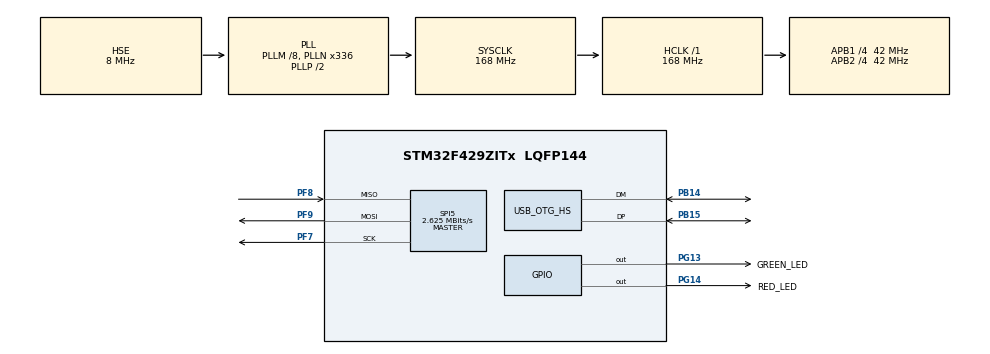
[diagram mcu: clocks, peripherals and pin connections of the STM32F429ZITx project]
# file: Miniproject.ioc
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FREERTOS.Tasks01=defaultTask,0,128,StartDefaultTask,Default,NULL,Dynamic,NULL,NULL
FREERTOS.configUSE_NEWLIB_REENTRANT=1
Mcu.Family=STM32F4
Mcu.Name=STM32F429ZITx
Mcu.Package=LQFP144
NVIC.OTG_HS_IRQn=true\:5\:0\:false\:false\:true\:true\:true\:true\:true
NVIC.PriorityGroup=NVIC_PRIORITYGROUP_4
NVIC.SPI5_IRQn=true\:5\:0\:false\:false\:true\:true\:true\:true\:true
NVIC.TIM6_DAC_IRQn=true\:15\:0\:false\:false\:true\:false\:false\:true\:true
NVIC.TimeBase=TIM6_DAC_IRQn
NVIC.TimeBaseIP=TIM6
PA13.Mode=Serial_Wire
PA13.Signal=SYS_JTMS-SWDIO
PA14.Mode=Serial_Wire
PA14.Signal=SYS_JTCK-SWCLK
PB14.Mode=Device_Only_FS
PB14.Signal=USB_OTG_HS_DM
PB15.Mode=Device_Only_FS
PB15.Signal=USB_OTG_HS_DP
PF7.Mode=Full_Duplex_Master
PF7.Signal=SPI5_SCK
PF8.Mode=Full_Duplex_Master
PF8.Signal=SPI5_MISO
PF9.Mode=Full_Duplex_Master
PF9.Signal=SPI5_MOSI
PG13.GPIO_Label=GREEN_LED
PG13.GPIO_Speed=GPIO_SPEED_FREQ_HIGH
PG13.Signal=GPIO_Output
PG14.GPIO_Label=RED_LED
PG14.GPIO_Speed=GPIO_SPEED_FREQ_HIGH
PG14.Signal=GPIO_Output
PH0/OSC_IN.Mode=HSE-External-Oscillator
PH0/OSC_IN.Signal=RCC_OSC_IN
PH1/OSC_OUT.Mode=HSE-External-Oscillator
PH1/OSC_OUT.Signal=RCC_OSC_OUT
ProjectManager.HeapSize=0x200
ProjectManager.StackSize=0x400
ProjectManager.TargetToolchain=STM32CubeIDE
RCC.48MHZClocksFreq_Value=48000000
RCC.AHBFreq_Value=168000000
RCC.APB1CLKDivider=RCC_HCLK_DIV4
RCC.APB1Freq_Value=42000000
RCC.APB1TimFreq_Value=84000000
RCC.APB2CLKDivider=RCC_HCLK_DIV4
RCC.APB2Freq_Value=42000000
RCC.APB2TimFreq_Value=84000000
RCC.CortexFreq_Value=168000000
RCC.HCLKFreq_Value=168000000
RCC.HSE_VALUE=8000000
RCC.HSI_VALUE=16000000
RCC.LSE_VALUE=32768
RCC.PLLM=8
RCC.PLLN=336
RCC.PLLQ=7
RCC.SYSCLKFreq_VALUE=168000000
RCC.SYSCLKSource=RCC_SYSCLKSOURCE_PLLCLK
RCC.VCOOutputFreq_Value=336000000
SPI5.BaudRatePrescaler=SPI_BAUDRATEPRESCALER_16
SPI5.CalculateBaudRate=2.625 MBits/s
SPI5.Direction=SPI_DIRECTION_2LINES
SPI5.Mode=SPI_MODE_MASTER
SPI5.VirtualType=VM_MASTER
USB_DEVICE.CLASS_NAME_HS=CDC
USB_DEVICE.VirtualMode-CDC_HS=Cdc
USB_DEVICE.VirtualModeHS=Cdc_HS
USB_OTG_HS.VirtualMode-Device_Only_FS=Device_Only_FS
VP_FREERTOS_VS_CMSIS_V1.Mode=CMSIS_V1
VP_SYS_VS_tim6.Mode=TIM6
VP_USB_DEVICE_VS_USB_DEVICE_CDC_HS.Mode=CDC_HS
board=custom

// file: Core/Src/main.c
/* USER CODE BEGIN Header */
/**
  ******************************************************************************
  * @file           : main.c
  * @brief          : Main program body
  ******************************************************************************
  * @attention
  *
  * Copyright (c) 2023 STMicroelectronics.
  * All rights reserved.
  *
  * This software is licensed under terms that can be found in the LICENSE file
  * in the root directory of this software component.
  * If no LICENSE file comes with this software, it is provided AS-IS.
  *
  ******************************************************************************
  */
/* USER CODE END Header */
#include "main.h"
#include "cmsis_os.h"
#include "usb_device.h"

/* USER CODE BEGIN Includes */
#include <stdio.h>
#include <stdlib.h>
#include "string.h"
#include "stm32f429i_discovery_sdram.h"
#include "stm32f429i_discovery_lcd.h"
#include "stm32f429i_discovery_gyroscope.h"
#include "usbd_cdc_if.h"
/* USER CODE END Includes */

/* USER CODE BEGIN PD */
#define DT 0.01
#define G_GAIN 0.070
#define RAD_TO_DEG 57.29578
#define M_PI 3.14159265358979323846
/* USER CODE END PD */

SPI_HandleTypeDef hspi5;

osThreadId Task01Handle;
osThreadId Task02Handle;
osThreadId Task03Handle;
osThreadId Task04Handle;
osThreadId Task05Handle;
osMessageQId Queue01Handle;
osMessageQId Queue02Handle;
osMessageQId Queue03Handle;
/* USER CODE BEGIN PV */
float val[3];
char LCD_send[30];
char USB_send[30];
float rate_gyr_y = 0.0;   // [deg/s]
float rate_gyr_x = 0.0;   // [deg/s]
float rate_gyr_z = 0.0;   // [deg/s]
float gyroXangle = 0.0;
float gyroYangle = 0.0;
float gyroZangle = 0.0;
float tmpX = 0.0;
float tmpY = 0.0;
float tmpY1 = 0.0;
uint16_t high = 50;
uint16_t RX = 120;
uint16_t RY = 170;
uint16_t x = 5;
uint16_t flag = 0;
uint16_t ponk = 0;
uint16_t score = 0;
uint16_t loose = 0;
uint16_t h = 0;
uint16_t inc = 1;
uint16_t mode = 1;
uint16_t gameoverFlag = 0;
typedef struct
{
  float x_ang_rate;
  float y_ang_rate;
  float z_ang_rate;

} GYRO_DATA_T;
/* USER CODE END PV */

void SystemClock_Config(void);
static void MX_GPIO_Init(void);
static void MX_SPI5_Init(void);

/* USER CODE BEGIN PFP */
void StartTask01(void const * argument);
void StartTask02(void const * argument);
void StartTask03(void const * argument);
void StartTask04(void const * argument);
void StartTask05(void const * argument);
/* USER CODE END PFP */

int main(void)
{

  /* MCU Configuration--------------------------------------------------------*/

  /* Reset of all peripherals, Initializes the Flash interface and the Systick. */
  HAL_Init();

  /* Configure the system clock */
  SystemClock_Config();

  /* Initialize all configured peripherals */
  MX_GPIO_Init();
  MX_SPI5_Init();
  /* USER CODE BEGIN 2 */
  BSP_LCD_Init();
  BSP_LCD_LayerDefaultInit(1, SDRAM_DEVICE_ADDR);
  BSP_LCD_SelectLayer(1);
  BSP_LCD_DisplayOn();
  BSP_LCD_Clear(LCD_COLOR_DARKGREEN);
  BSP_LCD_SetBackColor(LCD_COLOR_DARKGREEN);
  BSP_LCD_SetTextColor(LCD_COLOR_GREEN);
  /* USER CODE END 2 */

  /* USER CODE BEGIN RTOS_QUEUES */
  /* add queues, ... */
  osMessageQDef(Queue01, 16, GYRO_DATA_T);
  Queue01Handle = osMessageCreate(osMessageQ(Queue01), NULL);

  osMessageQDef(Queue02, 16, uint16_t);
  Queue02Handle = osMessageCreate(osMessageQ(Queue02), NULL);

  osMessageQDef(Queue03, 16, uint16_t);
  Queue03Handle = osMessageCreate(osMessageQ(Queue03), NULL);
  /* USER CODE END RTOS_QUEUES */

  /* Create the thread(s) */
  /* definition and creation of defaultTask */
  osThreadDef(Task01, StartTask01, osPriorityNormal, 0, 128);
  Task01Handle = osThreadCreate(osThread(Task01), NULL);

  osThreadDef(Task02, StartTask02, osPriorityNormal, 0, 128);
  Task02Handle = osThreadCreate(osThread(Task02), NULL);

  osThreadDef(Task03, StartTask03, osPriorityNormal, 0, 128);
  Task03Handle = osThreadCreate(osThread(Task03), NULL);

  osThreadDef(Task04, StartTask04, osPriorityNormal, 0, 256);
  Task04Handle = osThreadCreate(osThread(Task04), NULL);

  osThreadDef(Task05, StartTask05, osPriorityIdle, 0, 128);
  Task05Handle = osThreadCreate(osThread(Task05), NULL);

  /* Start scheduler */
  osKernelStart();

  /* We should never get here as control is now taken by the scheduler */
  /* Infinite loop */
  while (1)
  {

  }
}

void SystemClock_Config(void)
{
  RCC_OscInitTypeDef RCC_OscInitStruct = {0};
  RCC_ClkInitTypeDef RCC_ClkInitStruct = {0};

  /** Configure the main internal regulator output voltage
  */
  __HAL_RCC_PWR_CLK_ENABLE();
  __HAL_PWR_VOLTAGESCALING_CONFIG(PWR_REGULATOR_VOLTAGE_SCALE1);

  /** Initializes the RCC Oscillators according to the specified parameters
  * in the RCC_OscInitTypeDef structure.
  */
  RCC_OscInitStruct.OscillatorType = RCC_OSCILLATORTYPE_HSE;
  RCC_OscInitStruct.HSEState = RCC_HSE_ON;
  RCC_OscInitStruct.PLL.PLLState = RCC_PLL_ON;
  RCC_OscInitStruct.PLL.PLLSource = RCC_PLLSOURCE_HSE;
  RCC_OscInitStruct.PLL.PLLM = 8;
  RCC_OscInitStruct.PLL.PLLN = 336;
  RCC_OscInitStruct.PLL.PLLP = RCC_PLLP_DIV2;
  RCC_OscInitStruct.PLL.PLLQ = 7;
  if (HAL_RCC_OscConfig(&RCC_OscInitStruct) != HAL_OK)
  {
    Error_Handler();
  }

  /** Initializes the CPU, AHB and APB buses clocks
  */
  RCC_ClkInitStruct.ClockType = RCC_CLOCKTYPE_HCLK|RCC_CLOCKTYPE_SYSCLK
                              |RCC_CLOCKTYPE_PCLK1|RCC_CLOCKTYPE_PCLK2;
  RCC_ClkInitStruct.SYSCLKSource = RCC_SYSCLKSOURCE_PLLCLK;
  RCC_ClkInitStruct.AHBCLKDivider = RCC_SYSCLK_DIV1;
  RCC_ClkInitStruct.APB1CLKDivider = RCC_HCLK_DIV4;
  RCC_ClkInitStruct.APB2CLKDivider = RCC_HCLK_DIV4;

  if (HAL_RCC_ClockConfig(&RCC_ClkInitStruct, FLASH_LATENCY_5) != HAL_OK)
  {
    Error_Handler();
  }
}

static void MX_SPI5_Init(void)
{

  /* SPI5 parameter configuration*/
  hspi5.Instance = SPI5;
  hspi5.Init.Mode = SPI_MODE_MASTER;
  hspi5.Init.Direction = SPI_DIRECTION_2LINES;
  hspi5.Init.DataSize = SPI_DATASIZE_8BIT;
  hspi5.Init.CLKPolarity = SPI_POLARITY_LOW;
  hspi5.Init.CLKPhase = SPI_PHASE_1EDGE;
  hspi5.Init.NSS = SPI_NSS_SOFT;
  hspi5.Init.BaudRatePrescaler = SPI_BAUDRATEPRESCALER_16;
  hspi5.Init.FirstBit = SPI_FIRSTBIT_MSB;
  hspi5.Init.TIMode = SPI_TIMODE_DISABLE;
  hspi5.Init.CRCCalculation = SPI_CRCCALCULATION_DISABLE;
  hspi5.Init.CRCPolynomial = 10;
  if (HAL_SPI_Init(&hspi5) != HAL_OK)
  {
    Error_Handler();
  }

}

static void MX_GPIO_Init(void)
{
  GPIO_InitTypeDef GPIO_InitStruct = {0};

  /* GPIO Ports Clock Enable */
  __HAL_RCC_GPIOF_CLK_ENABLE();
  __HAL_RCC_GPIOH_CLK_ENABLE();
  __HAL_RCC_GPIOB_CLK_ENABLE();
  __HAL_RCC_GPIOA_CLK_ENABLE();
  __HAL_RCC_GPIOG_CLK_ENABLE();

  /*Configure GPIO pin Output Level */
  HAL_GPIO_WritePin(GPIOG, GREEN_LED_Pin|RED_LED_Pin, GPIO_PIN_RESET);

  /*Configure GPIO pins : GREEN_LED_Pin RED_LED_Pin */
  GPIO_InitStruct.Pin = GREEN_LED_Pin|RED_LED_Pin;
  GPIO_InitStruct.Mode = GPIO_MODE_OUTPUT_PP;
  GPIO_InitStruct.Pull = GPIO_NOPULL;
  GPIO_InitStruct.Speed = GPIO_SPEED_FREQ_HIGH;
  HAL_GPIO_Init(GPIOG, &GPIO_InitStruct);

}

void GYRO_Task(void)
{
	BSP_GYRO_Init();
	GYRO_DATA_T gyro_data;
	osSignalWait(0x1, osWaitForever);
	for (;;)
	  {
		BSP_GYRO_GetXYZ(val);

		rate_gyr_x = val[0]  * G_GAIN;
		rate_gyr_y = val[1]  * G_GAIN;
		rate_gyr_z = val[2]  * G_GAIN;
		//BSP_LCD_FillTriangle(120,95,145,10,50,50);
		gyro_data.x_ang_rate+=rate_gyr_x*DT;
		gyro_data.y_ang_rate+=rate_gyr_y*DT;
		gyro_data.z_ang_rate+=rate_gyr_z*DT;
		if (gyro_data.x_ang_rate > 360){
			gyro_data.x_ang_rate = 360;
		}
		tmpY = tmpX;
		osMessagePut(Queue01Handle, (uint32_t)&gyro_data, 0);
	    osEvent event1 = osMessageGet(Queue02Handle, osWaitForever);
	    h = event1.value.p;
	    if ((gyro_data.x_ang_rate-tmpX)>=10 && h<70 && h>50 && RX>110 && RX<140 && RY>160 && RY<190 && inc == 0){
	    	high = 60;
	    	RY = 170;
	    	RX = 120;
	    	if ((gyro_data.x_ang_rate-tmpX)>=50){
	    		mode = 1;
	    	}
//	    	else{
//	    		mode = 2;
//	    	}
	    	ponk = 1;
	    	osDelay(100);
	    	ponk = 0;
	    	flag = 0;
	    }
	    else if (h == 30 || RY == 190 || RX == 140){
	    	loose = 1;
	    }
	    	  tmpX = gyro_data.x_ang_rate;
	    	  osDelay(100);
	    	  gyro_data.x_ang_rate = 0;
	  }
}
void SCORE_Task(void)
{
	for(;;){
		if (ponk == 1){
			score = score + 1;
			osDelay(2000);
			HAL_GPIO_WritePin(GPIOG, GPIO_PIN_13, GPIO_PIN_SET);
			osDelay(2000);
			HAL_GPIO_WritePin(GPIOG, GPIO_PIN_13, GPIO_PIN_RESET);
		}
		if (loose == 1){
			HAL_GPIO_WritePin(GPIOG, GPIO_PIN_14, GPIO_PIN_SET);
			gameoverFlag = 1;
			GameOver();

		}
	}
}
void LCD_Task(void)
{
	for (;;)
	{
		    if (mode == 1){
		    	BSP_LCD_Clear(LCD_COLOR_DARKBLUE);
		    	BSP_LCD_SetBackColor(LCD_COLOR_DARKBLUE);
		    	sprintf (LCD_send,"score = %d",score,h);
		    	BSP_LCD_DisplayStringAtLine(1,LCD_send);
		    	BSP_LCD_FillCircle(RX,RY,high);
		    	Mode1();
		    }
//		    else if (mode == 2){
//		    	BSP_LCD_Clear(LCD_COLOR_DARKCYAN);
//		    	BSP_LCD_SetBackColor(LCD_COLOR_DARKCYAN);
//		    	sprintf (LCD_send,"score = %d",score,RY);
//		    	BSP_LCD_DisplayStringAtLine(1,LCD_send);
//		    	BSP_LCD_FillCircle(RX,RY,high);
//		    	Mode2();
//		    }
	}
}
void Mode1(void)
{
	if (flag == 0){
		high= high + x;
		inc = 1;
		if (high == 120){
			flag = 1;
		}
	}
	else if (flag == 1){
		high = high - x;
		inc = 0;
		if (high == 20){
			flag = 0;
		}
	}
	osMessagePut(Queue02Handle, high, 0);
	osDelay(100);
}

void Mode2(void)
{
	if (flag == 0){
		RY= RY - 10;
		inc = 1;
		if (RY == 80){
			flag = 1;
		}
	}
	else if (flag == 1){
		RY = RY + 10;
		inc = 0;
		if (RY == 220)	{
			flag = 0;
		}
	}
	osMessagePut(Queue02Handle, high, 0);
	osDelay(100);
}

void USB_Task(void)
{
	osSignalWait(0x1, 400);

	osSignalSet(Task02Handle, 0x1);
	for (;;)
	{

		if (mode == 1){
			sprintf(USB_send,"high = %d\n",h);
		}
		else if (mode == 2){
			sprintf(USB_send,"high = %d\n",RY);
		}
		CDC_Transmit_HS(USB_send,strlen(USB_send));
		osDelay(100);
	}
}

void GameOver(void)
{
	char scoreText[20];
	sprintf(scoreText,"Your score:%d", score);
	HAL_GPIO_WritePin(GPIOG, GPIO_PIN_14, GPIO_PIN_SET);
    BSP_LCD_Clear(LCD_COLOR_RED);
    BSP_LCD_SetBackColor(LCD_COLOR_RED);
    BSP_LCD_SetTextColor(LCD_COLOR_WHITE);
    BSP_LCD_DisplayStringAt(5,130, "GAME OVER", CENTER_MODE);
    BSP_LCD_DisplayStringAt(0,50,scoreText , CENTER_MODE);
    osThreadTerminate(Task01Handle);
}

/* USER CODE END 4 */

void StartTask01(void const * argument)
{
	LCD_Task();
  for(;;)
  {
    osDelay(1);
  }
}

void StartTask02(void const * argument)
{
	GYRO_Task();
  for(;;)
  {
    osDelay(1);
  }
}

void StartTask03(void const * argument)
{
	SCORE_Task();
  for(;;)
  {
    osDelay(1);
  }
}

void StartTask04(void const * argument)
{
	MX_USB_DEVICE_Init();
	USB_Task();
  for(;;)
  {
    osDelay(1);
  }
}

void StartTask05(void const * argument)
{
  for(;;)
  {
    osDelay(1);
  }
  /* USER CODE END StartTask05 */
}
void HAL_TIM_PeriodElapsedCallback(TIM_HandleTypeDef *htim)
{
  if (htim->Instance == TIM6) {
    HAL_IncTick();
  }
}

void Error_Handler(void)
{
  __disable_irq();
  while (1)
  {
  }
}
